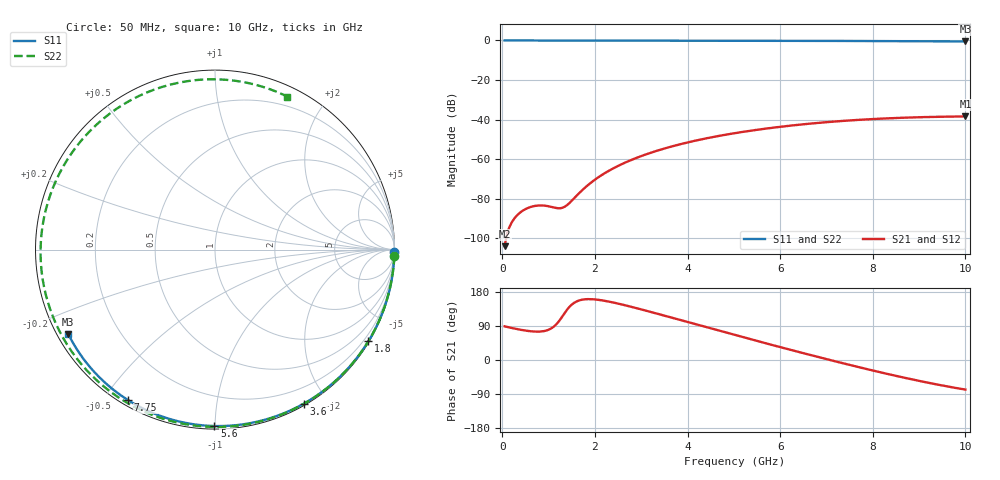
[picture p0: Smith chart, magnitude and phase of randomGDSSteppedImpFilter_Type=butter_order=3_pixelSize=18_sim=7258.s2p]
! freq	dB(S11)	phase(S11)	dB(S12)	phase(S12)
!  dB(S21)	phase(S21)	dB(S22)	phase(S22)
!S-par simulation data
#  GHz  S  DB  R 50
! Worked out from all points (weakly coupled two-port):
!   200 points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, 50 MHz to 10 GHz, reference 50 ohm
!   highest |S21| = -38.41 dB at 10 GHz (marker M1); lowest = -104.0 dB at 50 MHz (marker M2)
!   lowest |S11| = -0.5 dB at 10 GHz (marker M3), VSWR 34.23, Z = 1.56 - j13.3 ohm
!   |S11| at or under -10 dB: nowhere
!   |S22| runs from -0.5 to 0.0 dB; largest |S21 - S12| = 0
!   S11 on the Smith chart (normalised r, x): 50 MHz: open; 1.8 GHz: 0.03, -3.63; 3.6 GHz: 0.02, -1.73; 5.6 GHz: 0.02, -1.00; 7.75 GHz: 0.02, -0.58; 10 GHz: 0.03, -0.27
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0.05  -0.00 -0.9  -104.00 88.9  -104.00 88.9  -0.00 -1.9
0.7  -0.02 -12.1  -83.67 75.0  -83.67 75.0  -0.03 -26.5
1.1  -0.02 -19.0  -84.37 86.9  -84.37 86.9  -0.05 -41.3
1.5  -0.03 -25.8  -81.03 146.1  -81.03 146.1  -0.07 -55.6
1.55  -0.03 -26.6  -79.82 150.8  -79.82 150.8  -0.07 -57.3
1.75  -0.04 -30.0  -75.16 159.7  -75.16 159.7  -0.08 -64.3
1.8  -0.04 -30.8  -74.12 160.4  -74.12 160.4  -0.08 -66.0
2.1  -0.05 -35.8  -68.77 158.4  -68.77 158.4  -0.09 -76.0
2.45  -0.05 -41.6  -64.02 150.3  -64.02 150.3  -0.10 -87.3
2.9  -0.06 -48.9  -59.34 136.8  -59.34 136.8  -0.12 -101.2
3.4  -0.08 -56.9  -55.33 120.4  -55.33 120.4  -0.13 -115.9
3.6  -0.08 -60.1  -53.97 113.7  -53.97 113.7  -0.14 -121.6
4.35  -0.10 -71.7  -49.75 88.4  -49.75 88.4  -0.17 -142.0
5.05  -0.13 -82.1  -46.75 65.0  -46.75 65.0  -0.21 -160.3
5.6  -0.15 -90.2  -44.84 47.0  -44.84 47.0  -0.23 -174.3
6.15  -0.18 -98.0  -43.25 29.2  -43.25 29.2  -0.27 171.8
6.7  -0.21 -105.7  -41.93 11.7  -41.93 11.7  -0.30 157.8
7.2  -0.24 -112.6  -40.94 -3.8  -40.94 -3.8  -0.33 144.8
7.75  -0.28 -120.0  -40.06 -20.4  -40.06 -20.4  -0.37 130.2
8.35  -0.33 -128.1  -39.34 -37.7  -39.34 -37.7  -0.41 113.6
9.2  -0.41 -139.4  -38.70 -60.1  -38.70 -60.1  -0.46 89.0
10  -0.51 -150.2  -38.41 -78.1  -38.41 -78.1  -0.51 64.8
